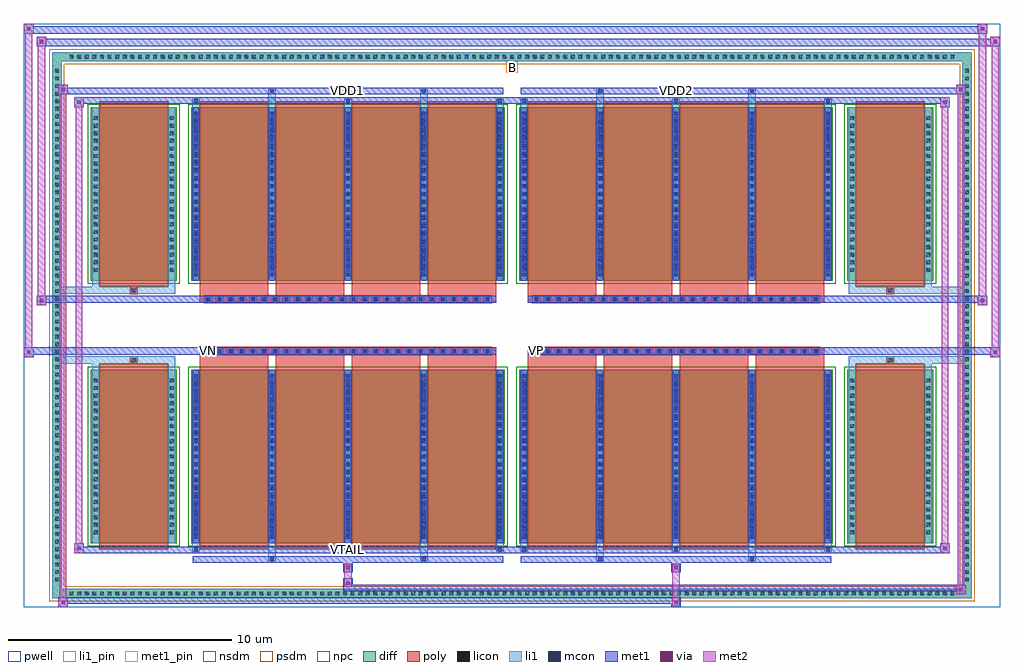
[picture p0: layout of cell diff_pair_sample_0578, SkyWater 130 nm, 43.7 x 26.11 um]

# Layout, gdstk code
import gdstk
lib = gdstk.Library(unit=1e-6, precision=5e-09)
def R(c, l, rs):  # rectangles x0, y0, x1, y1
    for r in rs: c.add(gdstk.rectangle(r[:2], r[2:], *l))
def A(c, l, x, y, w, h, nx, ny, dx, dy):  # array of equal rectangles
    R(c, l, [(x+i*dx, y+j*dy, x+i*dx+w, y+j*dy+h) for i in range(nx) for j in range(ny)])
def P(c, l, *ps):  # polygons
    for p in ps: c.add(gdstk.Polygon(p, *l))
pwell = (64, 44)
diff = (65, 20)
poly = (66, 20)
licon = (66, 44)
li1_pin = (67, 16)
li1 = (67, 20)
mcon = (67, 44)
met1_pin = (68, 16)
met1 = (68, 20)
via = (68, 44)
met2 = (69, 20)
nsdm = (93, 44)
psdm = (94, 20)
npc = (95, 20)

diff_pair_sample_0578 = lib.new_cell('diff_pair_sample_0578')
R(diff_pair_sample_0578, pwell, [(-21.85,-12.62,21.85,13.49), (-19.17,-10.81,-0.01,-0.795), (0.01,-10.81,19.17,-0.795), (-19.17,0.795,-0.01,10.81), (0.01,0.795,19.17,10.81)])
A(diff_pair_sample_0578, diff, -19.925, -12.22, 0.41, 0.41, 117, 2, 0.34, 24.03)
A(diff_pair_sample_0578, diff, -20.58, -11.595, 0.41, 0.41, 1, 68, 0, 0.34)
A(diff_pair_sample_0578, diff, 20.17, -11.595, 0.41, 0.41, 1, 68, 0, 0.34)
R(diff_pair_sample_0578, diff, [(-19.925,-12.22,19.925,-11.81), (-20.58,-11.595,-20.17,11.595), (20.17,-11.595,20.58,11.595), (-18.86,-9.765,-15.01,-1.985), (-14.37,-9.765,-0.32,-1.985), (0.32,-9.765,14.37,-1.985), (15.01,-9.765,18.86,-1.985), (-18.86,1.985,-15.01,9.765), (-14.37,1.985,-0.32,9.765), (0.32,1.985,14.37,9.765), (15.01,1.985,18.86,9.765), (-19.925,11.81,19.925,12.22)])
P(diff_pair_sample_0578, diff, [(20.58,12.22),(-20.58,12.22),(-20.58,-11.81),(-20.17,-11.81),(-20.17,11.81),(20.17,11.81),(20.17,-11.81),(-20.17,-11.81),(-20.58,-11.81),(-20.58,-12.22),(20.58,-12.22)])
A(diff_pair_sample_0578, poly, -13.98, -10.02, 3.07, 8.29, 4, 2, 3.4, 11.75)
A(diff_pair_sample_0578, poly, 0.71, -10.02, 3.07, 8.29, 4, 2, 3.4, 11.75)
A(diff_pair_sample_0578, poly, -13.98, -1.73, 3.07, 0.405, 4, 2, 3.4, 3.055)
A(diff_pair_sample_0578, poly, 0.71, -1.73, 3.07, 0.405, 4, 2, 3.4, 3.055)
A(diff_pair_sample_0578, poly, -13.76, -1.325, 0.33, 0.33, 26, 2, 0.5, 2.32)
A(diff_pair_sample_0578, poly, 0.93, -1.325, 0.33, 0.33, 26, 2, 0.5, 2.32)
R(diff_pair_sample_0578, poly, [(-18.47,-10.02,-15.4,-1.73), (15.4,-10.02,18.47,-1.73), (-17.1,-1.73,-16.77,-1.4), (-17.1,-1.73,-16.77,-1.4), (16.77,-1.73,17.1,-1.4), (16.77,-1.73,17.1,-1.4), (-13.98,-1.325,-0.71,-0.995), (0.71,-1.325,13.98,-0.995), (-13.98,0.995,-0.71,1.325), (0.71,0.995,13.98,1.325), (-17.1,1.4,-16.77,1.73), (-17.1,1.4,-16.77,1.73), (16.77,1.4,17.1,1.73), (16.77,1.4,17.1,1.73), (-18.47,1.73,-15.4,10.02), (15.4,1.73,18.47,10.02)])
A(diff_pair_sample_0578, licon, -19.805, -12.1, 0.17, 0.17, 117, 2, 0.34, 24.03)
A(diff_pair_sample_0578, licon, -20.46, -11.475, 0.17, 0.17, 1, 68, 0, 0.34)
A(diff_pair_sample_0578, licon, 20.29, -11.475, 0.17, 0.17, 1, 68, 0, 0.34)
A(diff_pair_sample_0578, licon, -18.72, -9.36, 0.17, 0.17, 1, 21, 0, 0.34)
A(diff_pair_sample_0578, licon, -15.32, -9.36, 0.17, 0.17, 1, 21, 0, 0.34)
A(diff_pair_sample_0578, licon, -14.23, -9.36, 0.17, 0.17, 5, 21, 3.4, 0.34)
A(diff_pair_sample_0578, licon, 0.46, -9.36, 0.17, 0.17, 5, 21, 3.4, 0.34)
A(diff_pair_sample_0578, licon, 15.15, -9.36, 0.17, 0.17, 1, 21, 0, 0.34)
A(diff_pair_sample_0578, licon, 18.55, -9.36, 0.17, 0.17, 1, 21, 0, 0.34)
A(diff_pair_sample_0578, licon, -13.68, -1.245, 0.17, 0.17, 26, 2, 0.5, 2.32)
A(diff_pair_sample_0578, licon, 1.01, -1.245, 0.17, 0.17, 26, 2, 0.5, 2.32)
A(diff_pair_sample_0578, licon, -18.72, 2.39, 0.17, 0.17, 1, 21, 0, 0.34)
A(diff_pair_sample_0578, licon, -15.32, 2.39, 0.17, 0.17, 1, 21, 0, 0.34)
A(diff_pair_sample_0578, licon, -14.23, 2.39, 0.17, 0.17, 5, 21, 3.4, 0.34)
A(diff_pair_sample_0578, licon, 0.46, 2.39, 0.17, 0.17, 5, 21, 3.4, 0.34)
A(diff_pair_sample_0578, licon, 15.15, 2.39, 0.17, 0.17, 1, 21, 0, 0.34)
A(diff_pair_sample_0578, licon, 18.55, 2.39, 0.17, 0.17, 1, 21, 0, 0.34)
R(diff_pair_sample_0578, licon, [(-17.02,-1.65,-16.85,-1.48), (16.85,-1.65,17.02,-1.48), (-17.02,1.48,-16.85,1.65), (16.85,1.48,17.02,1.65)])
R(diff_pair_sample_0578, li1_pin, [(-0.25,11.31,0.25,11.81)])
A(diff_pair_sample_0578, li1, -19.885, -12.18, 0.33, 0.33, 117, 2, 0.34, 24.03)
A(diff_pair_sample_0578, li1, -20.54, -11.555, 0.33, 0.33, 1, 68, 0, 0.34)
A(diff_pair_sample_0578, li1, 20.21, -11.555, 0.33, 0.33, 1, 68, 0, 0.34)
A(diff_pair_sample_0578, li1, -14.31, -10.14, 0.33, 0.375, 3, 2, 6.8, 19.905)
A(diff_pair_sample_0578, li1, -14.23, -10.14, 0.17, 0.17, 3, 2, 6.8, 20.11)
A(diff_pair_sample_0578, li1, 0.38, -10.14, 0.33, 0.375, 3, 2, 6.8, 19.905)
A(diff_pair_sample_0578, li1, 0.46, -10.14, 0.17, 0.17, 3, 2, 6.8, 20.11)
A(diff_pair_sample_0578, li1, -14.31, -9.765, 0.33, 7.78, 5, 2, 3.4, 11.75)
A(diff_pair_sample_0578, li1, 0.38, -9.765, 0.33, 7.78, 5, 2, 3.4, 11.75)
A(diff_pair_sample_0578, li1, -14.23, -9.56, 0.17, 0.17, 5, 21, 3.4, 0.36)
A(diff_pair_sample_0578, li1, -14.23, -9.56, 0.17, 7.37, 5, 2, 3.4, 11.75)
A(diff_pair_sample_0578, li1, 0.46, -9.56, 0.17, 0.17, 5, 21, 3.4, 0.36)
A(diff_pair_sample_0578, li1, 0.46, -9.56, 0.17, 7.37, 5, 2, 3.4, 11.75)
A(diff_pair_sample_0578, li1, -18.8, -9.44, 0.33, 0.33, 1, 21, 0, 0.34)
A(diff_pair_sample_0578, li1, -15.4, -9.44, 0.33, 0.33, 1, 21, 0, 0.34)
A(diff_pair_sample_0578, li1, -14.31, -9.44, 0.33, 0.33, 5, 21, 3.4, 0.34)
A(diff_pair_sample_0578, li1, 0.38, -9.44, 0.33, 0.33, 5, 21, 3.4, 0.34)
A(diff_pair_sample_0578, li1, 15.07, -9.44, 0.33, 0.33, 1, 21, 0, 0.34)
A(diff_pair_sample_0578, li1, 18.47, -9.44, 0.33, 0.33, 1, 21, 0, 0.34)
A(diff_pair_sample_0578, li1, -13.76, -1.325, 0.33, 0.33, 26, 2, 0.5, 2.32)
A(diff_pair_sample_0578, li1, 0.93, -1.325, 0.33, 0.33, 26, 2, 0.5, 2.32)
A(diff_pair_sample_0578, li1, -14.23, 2.19, 0.17, 0.17, 5, 21, 3.4, 0.36)
A(diff_pair_sample_0578, li1, 0.46, 2.19, 0.17, 0.17, 5, 21, 3.4, 0.36)
A(diff_pair_sample_0578, li1, -18.8, 2.31, 0.33, 0.33, 1, 21, 0, 0.34)
A(diff_pair_sample_0578, li1, -15.4, 2.31, 0.33, 0.33, 1, 21, 0, 0.34)
A(diff_pair_sample_0578, li1, -14.31, 2.31, 0.33, 0.33, 5, 21, 3.4, 0.34)
A(diff_pair_sample_0578, li1, 0.38, 2.31, 0.33, 0.33, 5, 21, 3.4, 0.34)
A(diff_pair_sample_0578, li1, 15.07, 2.31, 0.33, 0.33, 1, 21, 0, 0.34)
A(diff_pair_sample_0578, li1, 18.47, 2.31, 0.33, 0.33, 1, 21, 0, 0.34)
R(diff_pair_sample_0578, li1, [(-20.58,-12.22,-20.17,-11.81), (-20.58,-12.22,-20.17,-11.81), (-20.17,-12.22,20.17,-11.81), (20.17,-12.22,20.58,-11.81), (20.17,-12.22,20.58,-11.81), (-20.58,-11.81,-20.17,11.81), (20.17,-11.81,20.58,11.81), (-10.91,-10.57,-10.58,-9.765), (-10.83,-10.57,-10.66,-10.4), (-4.11,-10.57,-3.78,-9.765), (-4.03,-10.57,-3.86,-10.4), (3.78,-10.57,4.11,-9.765), (3.86,-10.57,4.03,-10.4), (10.58,-10.57,10.91,-9.765), (10.66,-10.57,10.83,-10.4), (-18.8,-9.765,-18.47,-1.985), (-15.4,-9.765,-15.07,-1.985), (15.07,-9.765,15.4,-1.985), (18.47,-9.765,18.8,-1.985), (-18.8,-1.985,-18.47,-1.4), (-15.4,-1.985,-15.07,-1.4), (15.07,-1.985,15.4,-1.4), (18.47,-1.985,18.8,-1.4), (-20.58,-1.73,-17.1,-1.4), (-18.8,-1.73,-17.1,-1.4), (-17.1,-1.73,-16.77,-1.4), (-16.77,-1.73,-15.07,-1.4), (15.07,-1.73,16.77,-1.4), (16.77,-1.73,17.1,-1.4), (16.77,-1.73,20.58,-1.4), (17.1,-1.73,18.8,-1.4), (-20.58,1.4,-17.1,1.73), (-18.8,1.4,-17.1,1.73), (-18.8,1.4,-18.47,1.985), (-17.1,1.4,-16.77,1.73), (-16.77,1.4,-15.07,1.73), (-15.4,1.4,-15.07,1.985), (15.07,1.4,16.77,1.73), (15.07,1.4,15.4,1.985), (16.77,1.4,17.1,1.73), (16.77,1.4,20.58,1.73), (17.1,1.4,18.8,1.73), (18.47,1.4,18.8,1.985), (-18.8,1.985,-18.47,9.765), (-15.4,1.985,-15.07,9.765), (15.07,1.985,15.4,9.765), (18.47,1.985,18.8,9.765), (-10.91,9.765,-10.58,10.57), (-4.11,9.765,-3.78,10.57), (3.78,9.765,4.11,10.57), (10.58,9.765,10.91,10.57), (-10.83,10.4,-10.66,10.57), (-4.03,10.4,-3.86,10.57), (3.86,10.4,4.03,10.57), (10.66,10.4,10.83,10.57), (-20.58,11.81,-20.17,12.22), (-20.58,11.81,-20.17,12.22), (-20.17,11.81,20.17,12.22), (20.17,11.81,20.58,12.22), (20.17,11.81,20.58,12.22)])
A(diff_pair_sample_0578, mcon, -14.23, -10.14, 0.17, 0.17, 3, 2, 6.8, 20.11)
A(diff_pair_sample_0578, mcon, 0.46, -10.14, 0.17, 0.17, 3, 2, 6.8, 20.11)
A(diff_pair_sample_0578, mcon, -14.23, -9.56, 0.17, 0.17, 5, 21, 3.4, 0.36)
A(diff_pair_sample_0578, mcon, 0.46, -9.56, 0.17, 0.17, 5, 21, 3.4, 0.36)
A(diff_pair_sample_0578, mcon, -13.68, -1.245, 0.17, 0.17, 26, 2, 0.5, 2.32)
A(diff_pair_sample_0578, mcon, 1.01, -1.245, 0.17, 0.17, 26, 2, 0.5, 2.32)
A(diff_pair_sample_0578, mcon, -14.23, 2.19, 0.17, 0.17, 5, 21, 3.4, 0.36)
A(diff_pair_sample_0578, mcon, 0.46, 2.19, 0.17, 0.17, 5, 21, 3.4, 0.36)
R(diff_pair_sample_0578, mcon, [(-10.83,-10.57,-10.66,-10.4), (-4.03,-10.57,-3.86,-10.4), (3.86,-10.57,4.03,-10.4), (10.66,-10.57,10.83,-10.4), (-10.83,10.4,-10.66,10.57), (-4.03,10.4,-3.86,10.57), (3.86,10.4,4.03,10.57), (10.66,10.4,10.83,10.57)])
R(diff_pair_sample_0578, met1_pin, [(-7.48,-10.18,-7.21,-9.91), (-13.73,-1.285,-13.46,-1.015), (0.96,-1.285,1.23,-1.015), (-7.48,10.36,-7.21,10.63), (7.21,10.36,7.48,10.63)])
A(diff_pair_sample_0578, met1, -14.29, -10.2, 0.29, 0.29, 3, 2, 6.8, 20.11)
A(diff_pair_sample_0578, met1, 0.4, -10.2, 0.29, 0.29, 3, 2, 6.8, 20.11)
A(diff_pair_sample_0578, met1, -14.29, -9.765, 0.29, 7.78, 5, 2, 3.4, 11.75)
A(diff_pair_sample_0578, met1, 0.4, -9.765, 0.29, 7.78, 5, 2, 3.4, 11.75)
A(diff_pair_sample_0578, met1, -14.29, -9.62, 0.29, 0.29, 5, 21, 3.4, 0.36)
A(diff_pair_sample_0578, met1, 0.4, -9.62, 0.29, 0.29, 5, 21, 3.4, 0.36)
A(diff_pair_sample_0578, met1, -13.74, -1.305, 0.29, 0.29, 26, 2, 0.5, 2.32)
A(diff_pair_sample_0578, met1, 0.95, -1.305, 0.29, 0.29, 26, 2, 0.5, 2.32)
A(diff_pair_sample_0578, met1, -14.29, 2.13, 0.29, 0.29, 5, 21, 3.4, 0.36)
A(diff_pair_sample_0578, met1, 0.4, 2.13, 0.29, 0.29, 5, 21, 3.4, 0.36)
R(diff_pair_sample_0578, met1, [(-20.31,-12.62,-19.88,-12.19), (7.13,-12.62,7.56,-12.19), (-20.31,-12.48,7.56,-12.19), (19.88,-12.05,20.31,-11.62), (-7.56,-11.91,20.31,-11.62), (-7.56,-11.77,-7.13,-11.34), (-7.56,-11.06,-7.13,-10.63), (7.13,-11.06,7.56,-10.63), (-14.29,-10.63,-0.4,-10.34), (-10.89,-10.63,-10.6,-10.34), (-4.09,-10.63,-3.8,-10.34), (0.4,-10.63,14.29,-10.34), (3.8,-10.63,4.09,-10.34), (10.6,-10.63,10.89,-10.34), (-19.6,-10.2,-19.17,-9.77), (-19.6,-10.2,-14.29,-9.91), (-14.29,-10.2,-0.4,-9.91), (-0.4,-10.2,0.4,-9.91), (0.4,-10.2,14.29,-9.91), (14.29,-10.2,19.6,-9.91), (19.17,-10.2,19.6,-9.77), (-21.85,-1.425,-21.42,-0.995), (21.42,-1.425,21.85,-0.995), (-21.85,-1.325,-0.71,-0.995), (-13.98,-1.325,-0.71,-0.995), (0.71,-1.325,13.98,-0.995), (0.71,-1.325,21.85,-0.995), (-21.28,0.895,-20.85,1.325), (20.85,0.895,21.28,1.325), (-21.28,0.995,-13.98,1.325), (-13.98,0.995,-0.71,1.325), (0.71,0.995,13.98,1.325), (13.98,0.995,21.28,1.325), (-19.6,9.77,-19.17,10.2), (19.17,9.77,19.6,10.2), (-19.6,9.91,-14.29,10.2), (-14.29,9.91,-0.4,10.2), (-0.4,9.91,0.4,10.2), (0.4,9.91,14.29,10.2), (14.29,9.91,19.6,10.2), (-20.31,10.34,-19.88,10.77), (-20.31,10.34,-14.29,10.63), (-14.29,10.34,-0.4,10.63), (-10.89,10.34,-10.6,10.63), (-4.09,10.34,-3.8,10.63), (0.4,10.34,14.29,10.63), (3.8,10.34,4.09,10.63), (10.6,10.34,10.89,10.63), (14.29,10.34,20.31,10.63), (19.88,10.34,20.31,10.77), (-21.28,12.49,-20.85,12.92), (-21.28,12.49,-19.17,12.82), (-19.17,12.49,19.17,12.82), (19.17,12.49,21.85,12.82), (21.42,12.49,21.85,12.92), (-21.85,13.06,-21.42,13.49), (-21.85,13.06,-19.17,13.39), (-19.17,13.06,19.17,13.39), (19.17,13.06,21.28,13.39), (20.85,13.06,21.28,13.49)])
R(diff_pair_sample_0578, via, [(-20.17,-12.48,-20.02,-12.33), (7.27,-12.48,7.42,-12.33), (20.02,-11.91,20.17,-11.76), (-7.42,-11.63,-7.27,-11.48), (-7.42,-10.92,-7.27,-10.77), (7.27,-10.92,7.42,-10.77), (-19.46,-10.06,-19.31,-9.91), (19.31,-10.06,19.46,-9.91), (-21.71,-1.285,-21.56,-1.135), (21.56,-1.285,21.71,-1.135), (-21.14,1.035,-20.99,1.185), (20.99,1.035,21.14,1.185), (-19.46,9.91,-19.31,10.06), (19.31,9.91,19.46,10.06), (-20.17,10.48,-20.02,10.63), (20.02,10.48,20.17,10.63), (-21.14,12.63,-20.99,12.78), (21.56,12.63,21.71,12.78), (-21.71,13.2,-21.56,13.35), (20.99,13.2,21.14,13.35)])
R(diff_pair_sample_0578, met2, [(-20.31,-12.62,-19.88,-12.19), (-20.24,-12.62,-19.95,10.77), (-19.95,-12.62,-19.88,-12.19), (-20.26,-12.57,-19.93,-12.24), (7.18,-12.57,7.51,-12.24), (7.18,-12.24,7.51,-11.01), (19.88,-12.05,20.31,-11.62), (19.95,-12.05,20.24,10.77), (20.24,-12.05,20.31,-11.62), (19.93,-12,20.26,-11.67), (-7.51,-11.72,-7.18,-11.39), (-7.51,-11.39,-7.18,-11.01), (-7.51,-11.01,-7.18,-10.68), (7.18,-11.01,7.51,-10.68), (-19.6,-10.2,-19.17,-9.77), (-19.53,-10.2,-19.24,10.2), (-19.24,-10.2,-19.17,-9.77), (19.17,-10.2,19.6,-9.77), (19.24,-10.2,19.53,10.2), (19.53,-10.2,19.6,-9.77), (-19.55,-10.15,-19.22,-9.82), (19.22,-10.15,19.55,-9.82), (-21.85,-1.425,-21.42,-0.995), (-21.8,-1.425,-21.47,13.49), (-21.47,-1.425,-21.42,-0.995), (21.42,-1.425,21.85,-0.995), (21.47,-1.425,21.8,12.92), (21.8,-1.425,21.85,-0.995), (-21.8,-1.375,-21.47,-1.045), (21.47,-1.375,21.8,-1.045), (-21.28,0.895,-20.85,1.325), (-21.23,0.895,-20.9,12.92), (-20.9,0.895,-20.85,1.325), (20.85,0.895,21.28,1.325), (20.9,0.895,21.23,13.49), (21.23,0.895,21.28,1.325), (-21.23,0.945,-20.9,1.275), (20.9,0.945,21.23,1.275), (-19.6,9.77,-19.17,10.2), (-19.24,9.77,-19.17,10.2), (19.17,9.77,19.6,10.2), (19.53,9.77,19.6,10.2), (-19.55,9.82,-19.22,10.15), (19.22,9.82,19.55,10.15), (-20.31,10.34,-19.88,10.77), (-19.95,10.34,-19.88,10.77), (19.88,10.34,20.31,10.77), (20.24,10.34,20.31,10.77), (-20.26,10.39,-19.93,10.72), (19.93,10.39,20.26,10.72), (-21.28,12.49,-20.85,12.92), (-20.9,12.49,-20.85,12.92), (21.42,12.49,21.85,12.92), (21.8,12.49,21.85,12.92), (-21.23,12.54,-20.9,12.87), (21.47,12.54,21.8,12.87), (-21.85,13.06,-21.42,13.49), (-21.47,13.06,-21.42,13.49), (20.85,13.06,21.28,13.49), (21.23,13.06,21.28,13.49), (-21.8,13.11,-21.47,13.44), (20.9,13.11,21.23,13.44)])
R(diff_pair_sample_0578, nsdm, [(-18.99,-9.895,-14.88,-1.855), (-14.5,-9.895,-0.19,-1.855), (0.19,-9.895,14.5,-1.855), (14.88,-9.895,18.99,-1.855), (-18.99,1.855,-14.88,9.895), (-14.5,1.855,-0.19,9.895), (0.19,1.855,14.5,9.895), (14.88,1.855,18.99,9.895)])
P(diff_pair_sample_0578, psdm, [(20.71,12.35),(-20.71,12.35),(-20.71,-11.68),(-20.04,-11.68),(-20.04,11.68),(20.04,11.68),(20.04,-11.68),(-20.04,-11.68),(-20.71,-11.68),(-20.71,-12.35),(20.71,-12.35)])
A(diff_pair_sample_0578, npc, -13.78, -1.345, 0.37, 0.37, 26, 2, 0.5, 2.32)
A(diff_pair_sample_0578, npc, 0.91, -1.345, 0.37, 0.37, 26, 2, 0.5, 2.32)
R(diff_pair_sample_0578, npc, [(-17.12,-1.75,-16.75,-1.38), (16.75,-1.75,17.12,-1.38), (-13.78,-1.345,-12.91,-0.975), (-13.78,-1.345,-12.91,-0.975), (-13.28,-1.345,-12.41,-0.975), (-13.28,-1.345,-12.41,-0.975), (-12.78,-1.345,-11.91,-0.975), (-12.78,-1.345,-11.91,-0.975), (-12.28,-1.345,-11.41,-0.975), (-12.28,-1.345,-11.41,-0.975), (-11.78,-1.345,-10.91,-0.975), (-11.78,-1.345,-10.91,-0.975), (-11.28,-1.345,-10.41,-0.975), (-11.28,-1.345,-10.41,-0.975), (-10.78,-1.345,-9.91,-0.975), (-10.78,-1.345,-9.91,-0.975), (-10.28,-1.345,-9.41,-0.975), (-10.28,-1.345,-9.41,-0.975), (-9.78,-1.345,-8.91,-0.975), (-9.78,-1.345,-8.91,-0.975), (-9.28,-1.345,-8.41,-0.975), (-9.28,-1.345,-8.41,-0.975), (-8.78,-1.345,-7.91,-0.975), (-8.78,-1.345,-7.91,-0.975), (-8.28,-1.345,-7.41,-0.975), (-8.28,-1.345,-7.41,-0.975), (-7.78,-1.345,-6.91,-0.975), (-7.78,-1.345,-6.91,-0.975), (-7.28,-1.345,-6.41,-0.975), (-7.28,-1.345,-6.41,-0.975), (-6.78,-1.345,-5.91,-0.975), (-6.78,-1.345,-5.91,-0.975), (-6.28,-1.345,-5.41,-0.975), (-6.28,-1.345,-5.41,-0.975), (-5.78,-1.345,-4.91,-0.975), (-5.78,-1.345,-4.91,-0.975), (-5.28,-1.345,-4.41,-0.975), (-5.28,-1.345,-4.41,-0.975), (-4.78,-1.345,-3.91,-0.975), (-4.78,-1.345,-3.91,-0.975), (-4.28,-1.345,-3.41,-0.975), (-4.28,-1.345,-3.41,-0.975), (-3.78,-1.345,-2.91,-0.975), (-3.78,-1.345,-2.91,-0.975), (-3.28,-1.345,-2.41,-0.975), (-3.28,-1.345,-2.41,-0.975), (-2.78,-1.345,-1.91,-0.975), (-2.78,-1.345,-1.91,-0.975), (-2.28,-1.345,-1.41,-0.975), (-2.28,-1.345,-1.41,-0.975), (-1.78,-1.345,-0.91,-0.975), (-1.78,-1.345,-0.91,-0.975), (0.91,-1.345,1.78,-0.975), (0.91,-1.345,1.78,-0.975), (1.41,-1.345,2.28,-0.975), (1.41,-1.345,2.28,-0.975), (1.91,-1.345,2.78,-0.975), (1.91,-1.345,2.78,-0.975), (2.41,-1.345,3.28,-0.975), (2.41,-1.345,3.28,-0.975), (2.91,-1.345,3.78,-0.975), (2.91,-1.345,3.78,-0.975), (3.41,-1.345,4.28,-0.975), (3.41,-1.345,4.28,-0.975), (3.91,-1.345,4.78,-0.975), (3.91,-1.345,4.78,-0.975), (4.41,-1.345,5.28,-0.975), (4.41,-1.345,5.28,-0.975), (4.91,-1.345,5.78,-0.975), (4.91,-1.345,5.78,-0.975), (5.41,-1.345,6.28,-0.975), (5.41,-1.345,6.28,-0.975), (5.91,-1.345,6.78,-0.975), (5.91,-1.345,6.78,-0.975), (6.41,-1.345,7.28,-0.975), (6.41,-1.345,7.28,-0.975), (6.91,-1.345,7.78,-0.975), (6.91,-1.345,7.78,-0.975), (7.41,-1.345,8.28,-0.975), (7.41,-1.345,8.28,-0.975), (7.91,-1.345,8.78,-0.975), (7.91,-1.345,8.78,-0.975), (8.41,-1.345,9.28,-0.975), (8.41,-1.345,9.28,-0.975), (8.91,-1.345,9.78,-0.975), (8.91,-1.345,9.78,-0.975), (9.41,-1.345,10.28,-0.975), (9.41,-1.345,10.28,-0.975), (9.91,-1.345,10.78,-0.975), (9.91,-1.345,10.78,-0.975), (10.41,-1.345,11.28,-0.975), (10.41,-1.345,11.28,-0.975), (10.91,-1.345,11.78,-0.975), (10.91,-1.345,11.78,-0.975), (11.41,-1.345,12.28,-0.975), (11.41,-1.345,12.28,-0.975), (11.91,-1.345,12.78,-0.975), (11.91,-1.345,12.78,-0.975), (12.41,-1.345,13.28,-0.975), (12.41,-1.345,13.28,-0.975), (12.91,-1.345,13.78,-0.975), (12.91,-1.345,13.78,-0.975), (-13.78,0.975,-12.91,1.345), (-13.78,0.975,-12.91,1.345), (-13.28,0.975,-12.41,1.345), (-13.28,0.975,-12.41,1.345), (-12.78,0.975,-11.91,1.345), (-12.78,0.975,-11.91,1.345), (-12.28,0.975,-11.41,1.345), (-12.28,0.975,-11.41,1.345), (-11.78,0.975,-10.91,1.345), (-11.78,0.975,-10.91,1.345), (-11.28,0.975,-10.41,1.345), (-11.28,0.975,-10.41,1.345), (-10.78,0.975,-9.91,1.345), (-10.78,0.975,-9.91,1.345), (-10.28,0.975,-9.41,1.345), (-10.28,0.975,-9.41,1.345), (-9.78,0.975,-8.91,1.345), (-9.78,0.975,-8.91,1.345), (-9.28,0.975,-8.41,1.345), (-9.28,0.975,-8.41,1.345), (-8.78,0.975,-7.91,1.345), (-8.78,0.975,-7.91,1.345), (-8.28,0.975,-7.41,1.345), (-8.28,0.975,-7.41,1.345), (-7.78,0.975,-6.91,1.345), (-7.78,0.975,-6.91,1.345), (-7.28,0.975,-6.41,1.345), (-7.28,0.975,-6.41,1.345), (-6.78,0.975,-5.91,1.345), (-6.78,0.975,-5.91,1.345), (-6.28,0.975,-5.41,1.345), (-6.28,0.975,-5.41,1.345), (-5.78,0.975,-4.91,1.345), (-5.78,0.975,-4.91,1.345), (-5.28,0.975,-4.41,1.345), (-5.28,0.975,-4.41,1.345), (-4.78,0.975,-3.91,1.345), (-4.78,0.975,-3.91,1.345), (-4.28,0.975,-3.41,1.345), (-4.28,0.975,-3.41,1.345), (-3.78,0.975,-2.91,1.345), (-3.78,0.975,-2.91,1.345), (-3.28,0.975,-2.41,1.345), (-3.28,0.975,-2.41,1.345), (-2.78,0.975,-1.91,1.345), (-2.78,0.975,-1.91,1.345), (-2.28,0.975,-1.41,1.345), (-2.28,0.975,-1.41,1.345), (-1.78,0.975,-0.91,1.345), (-1.78,0.975,-0.91,1.345), (0.91,0.975,1.78,1.345), (0.91,0.975,1.78,1.345), (1.41,0.975,2.28,1.345), (1.41,0.975,2.28,1.345), (1.91,0.975,2.78,1.345), (1.91,0.975,2.78,1.345), (2.41,0.975,3.28,1.345), (2.41,0.975,3.28,1.345), (2.91,0.975,3.78,1.345), (2.91,0.975,3.78,1.345), (3.41,0.975,4.28,1.345), (3.41,0.975,4.28,1.345), (3.91,0.975,4.78,1.345), (3.91,0.975,4.78,1.345), (4.41,0.975,5.28,1.345), (4.41,0.975,5.28,1.345), (4.91,0.975,5.78,1.345), (4.91,0.975,5.78,1.345), (5.41,0.975,6.28,1.345), (5.41,0.975,6.28,1.345), (5.91,0.975,6.78,1.345), (5.91,0.975,6.78,1.345), (6.41,0.975,7.28,1.345), (6.41,0.975,7.28,1.345), (6.91,0.975,7.78,1.345), (6.91,0.975,7.78,1.345), (7.41,0.975,8.28,1.345), (7.41,0.975,8.28,1.345), (7.91,0.975,8.78,1.345), (7.91,0.975,8.78,1.345), (8.41,0.975,9.28,1.345), (8.41,0.975,9.28,1.345), (8.91,0.975,9.78,1.345), (8.91,0.975,9.78,1.345), (9.41,0.975,10.28,1.345), (9.41,0.975,10.28,1.345), (9.91,0.975,10.78,1.345), (9.91,0.975,10.78,1.345), (10.41,0.975,11.28,1.345), (10.41,0.975,11.28,1.345), (10.91,0.975,11.78,1.345), (10.91,0.975,11.78,1.345), (11.41,0.975,12.28,1.345), (11.41,0.975,12.28,1.345), (11.91,0.975,12.78,1.345), (11.91,0.975,12.78,1.345), (12.41,0.975,13.28,1.345), (12.41,0.975,13.28,1.345), (12.91,0.975,13.78,1.345), (12.91,0.975,13.78,1.345), (-17.12,1.38,-16.75,1.75), (16.75,1.38,17.12,1.75)])
diff_pair_sample_0578.add(gdstk.Label('VTAIL', (-7.345,-10.045), layer=68, texttype=5))
diff_pair_sample_0578.add(gdstk.Label('VN', (-13.595,-1.15), layer=68, texttype=5))
diff_pair_sample_0578.add(gdstk.Label('VP', (1.095,-1.15), layer=68, texttype=5))
diff_pair_sample_0578.add(gdstk.Label('B', (0,11.56), layer=67, texttype=5))
diff_pair_sample_0578.add(gdstk.Label('VDD2', (7.345,10.495), layer=68, texttype=5))
diff_pair_sample_0578.add(gdstk.Label('VDD1', (-7.345,10.495), layer=68, texttype=5))

lib.write_gds('diff_pair_sample_0578.gds')
